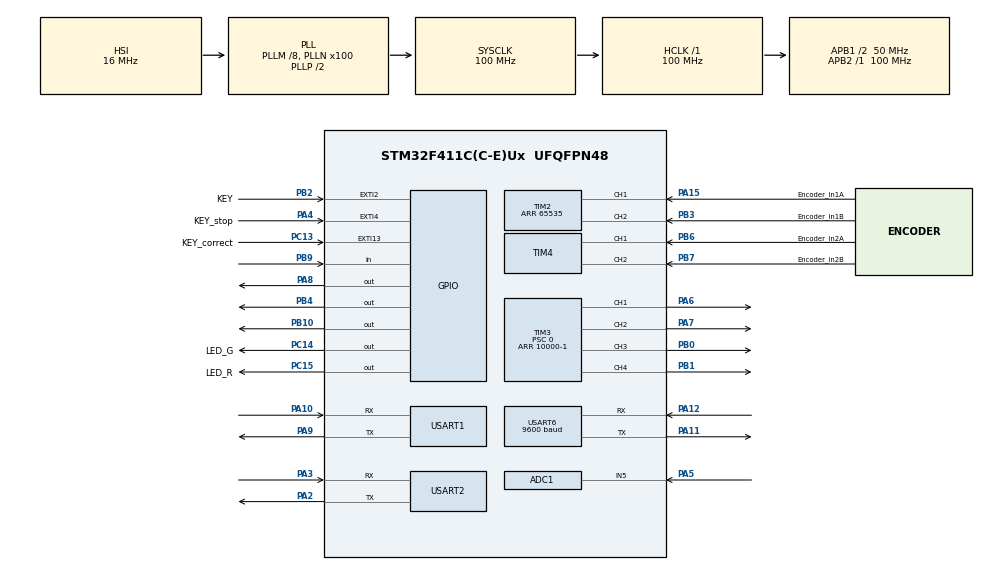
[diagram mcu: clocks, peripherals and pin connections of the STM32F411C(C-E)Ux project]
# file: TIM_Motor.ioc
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ADC1.Channel-0\#ChannelRegularConversion=ADC_CHANNEL_5
ADC1.ClockPrescaler=ADC_CLOCK_SYNC_PCLK_DIV8
ADC1.NbrOfConversionFlag=1
ADC1.Rank-0\#ChannelRegularConversion=1
ADC1.SamplingTime-0\#ChannelRegularConversion=ADC_SAMPLETIME_3CYCLES
ADC1.master=1
Dma.Request0=USART1_RX
Dma.Request1=USART1_TX
Dma.Request2=USART6_RX
Dma.Request3=USART6_TX
Dma.USART1_RX.0.Direction=DMA_PERIPH_TO_MEMORY
Dma.USART1_RX.0.FIFOMode=DMA_FIFOMODE_DISABLE
Dma.USART1_RX.0.Instance=DMA2_Stream2
Dma.USART1_RX.0.MemDataAlignment=DMA_MDATAALIGN_BYTE
Dma.USART1_RX.0.MemInc=DMA_MINC_ENABLE
Dma.USART1_RX.0.Mode=DMA_NORMAL
Dma.USART1_RX.0.PeriphDataAlignment=DMA_PDATAALIGN_BYTE
Dma.USART1_RX.0.PeriphInc=DMA_PINC_DISABLE
Dma.USART1_RX.0.Priority=DMA_PRIORITY_LOW
Dma.USART1_TX.1.Direction=DMA_MEMORY_TO_PERIPH
Dma.USART1_TX.1.FIFOMode=DMA_FIFOMODE_DISABLE
Dma.USART1_TX.1.Instance=DMA2_Stream7
Dma.USART1_TX.1.MemDataAlignment=DMA_MDATAALIGN_BYTE
Dma.USART1_TX.1.MemInc=DMA_MINC_ENABLE
Dma.USART1_TX.1.Mode=DMA_NORMAL
Dma.USART1_TX.1.PeriphDataAlignment=DMA_PDATAALIGN_BYTE
Dma.USART1_TX.1.PeriphInc=DMA_PINC_DISABLE
Dma.USART1_TX.1.Priority=DMA_PRIORITY_LOW
Dma.USART6_RX.2.Direction=DMA_PERIPH_TO_MEMORY
Dma.USART6_RX.2.FIFOMode=DMA_FIFOMODE_DISABLE
Dma.USART6_RX.2.Instance=DMA2_Stream1
Dma.USART6_RX.2.MemDataAlignment=DMA_MDATAALIGN_BYTE
Dma.USART6_RX.2.MemInc=DMA_MINC_ENABLE
Dma.USART6_RX.2.Mode=DMA_NORMAL
Dma.USART6_RX.2.PeriphDataAlignment=DMA_PDATAALIGN_BYTE
Dma.USART6_RX.2.PeriphInc=DMA_PINC_DISABLE
Dma.USART6_RX.2.Priority=DMA_PRIORITY_LOW
Dma.USART6_TX.3.Direction=DMA_MEMORY_TO_PERIPH
Dma.USART6_TX.3.FIFOMode=DMA_FIFOMODE_DISABLE
Dma.USART6_TX.3.Instance=DMA2_Stream6
Dma.USART6_TX.3.MemDataAlignment=DMA_MDATAALIGN_BYTE
Dma.USART6_TX.3.MemInc=DMA_MINC_ENABLE
Dma.USART6_TX.3.Mode=DMA_NORMAL
Dma.USART6_TX.3.PeriphDataAlignment=DMA_PDATAALIGN_BYTE
Dma.USART6_TX.3.PeriphInc=DMA_PINC_DISABLE
Dma.USART6_TX.3.Priority=DMA_PRIORITY_LOW
Mcu.Family=STM32F4
Mcu.Name=STM32F411C(C-E)Ux
Mcu.Package=UFQFPN48
NVIC.DMA2_Stream1_IRQn=true\:0\:0\:false\:false\:true\:false\:true\:true
NVIC.DMA2_Stream2_IRQn=true\:0\:0\:false\:false\:true\:false\:true\:true
NVIC.DMA2_Stream6_IRQn=true\:0\:0\:false\:false\:true\:false\:true\:true
NVIC.DMA2_Stream7_IRQn=true\:0\:0\:false\:false\:true\:false\:true\:true
NVIC.EXTI15_10_IRQn=true\:0\:0\:false\:false\:true\:true\:true\:true
NVIC.EXTI2_IRQn=true\:0\:0\:false\:false\:true\:true\:true\:true
NVIC.EXTI4_IRQn=true\:0\:0\:false\:false\:true\:true\:true\:true
NVIC.PriorityGroup=NVIC_PRIORITYGROUP_4
NVIC.TIM5_IRQn=true\:0\:0\:true\:false\:true\:true\:true\:true
NVIC.USART1_IRQn=true\:0\:0\:true\:false\:true\:true\:true\:true
NVIC.USART6_IRQn=true\:0\:0\:false\:false\:true\:true\:true\:true
PA10.Mode=Asynchronous
PA10.Signal=USART1_RX
PA11.Mode=Asynchronous
PA11.Signal=USART6_TX
PA12.Mode=Asynchronous
PA12.Signal=USART6_RX
PA13.Mode=Serial_Wire
PA13.Signal=SYS_JTMS-SWDIO
PA14.Mode=Serial_Wire
PA14.Signal=SYS_JTCK-SWCLK
PA15.GPIO_Label=Encoder_in1A
PA15.Signal=S_TIM2_CH1_ETR
PA2.Mode=Asynchronous
PA2.Signal=USART2_TX
PA3.Mode=Asynchronous
PA3.Signal=USART2_RX
PA4.GPIO_Label=KEY_stop
PA4.GPIO_ModeDefaultEXTI=GPIO_MODE_IT_FALLING
PA4.GPIO_PuPd=GPIO_PULLUP
PA4.Signal=GPXTI4
PA5.Signal=ADCx_IN5
PA6.Signal=S_TIM3_CH1
PA7.Signal=S_TIM3_CH2
PA8.GPIO_ModeDefaultOutputPP=GPIO_MODE_OUTPUT_OD
PA8.GPIO_PuPd=GPIO_NOPULL
PA8.Signal=GPIO_Output
PA9.Mode=Asynchronous
PA9.Signal=USART1_TX
PB0.Signal=S_TIM3_CH3
PB1.Signal=S_TIM3_CH4
PB10.Signal=GPIO_Output
PB2.GPIO_Label=KEY
PB2.GPIO_ModeDefaultEXTI=GPIO_MODE_IT_FALLING
PB2.GPIO_PuPd=GPIO_PULLUP
PB2.Signal=GPXTI2
PB3.GPIO_Label=Encoder_in1B
PB3.Signal=S_TIM2_CH2
PB4.GPIO_ModeDefaultOutputPP=GPIO_MODE_OUTPUT_OD
PB4.GPIO_PuPd=GPIO_NOPULL
PB4.Signal=GPIO_Output
PB6.GPIO_Label=Encoder_in2A
PB6.Signal=S_TIM4_CH1
PB7.GPIO_Label=Encoder_in2B
PB7.Signal=S_TIM4_CH2
PB9.GPIO_PuPd=GPIO_PULLUP
PB9.Signal=GPIO_Input
PC13-ANTI_TAMP.GPIO_Label=KEY_correct
PC13-ANTI_TAMP.GPIO_ModeDefaultEXTI=GPIO_MODE_IT_FALLING
PC13-ANTI_TAMP.GPIO_PuPd=GPIO_PULLUP
PC13-ANTI_TAMP.Signal=GPXTI13
PC14-OSC32_IN.GPIO_Label=LED_G
PC14-OSC32_IN.PinState=GPIO_PIN_SET
PC14-OSC32_IN.Signal=GPIO_Output
PC15-OSC32_OUT.GPIO_Label=LED_R
PC15-OSC32_OUT.PinState=GPIO_PIN_RESET
PC15-OSC32_OUT.Signal=GPIO_Output
PH0\ -\ OSC_IN.Mode=HSE-External-Oscillator
PH0\ -\ OSC_IN.Signal=RCC_OSC_IN
PH1\ -\ OSC_OUT.Mode=HSE-External-Oscillator
PH1\ -\ OSC_OUT.Signal=RCC_OSC_OUT
ProjectManager.HeapSize=0x200
ProjectManager.StackSize=0x400
ProjectManager.TargetToolchain=MDK-ARM V5.32
RCC.48MHZClocksFreq_Value=50000000
RCC.AHBFreq_Value=100000000
RCC.APB1CLKDivider=RCC_HCLK_DIV2
RCC.APB1Freq_Value=50000000
RCC.APB1TimFreq_Value=100000000
RCC.APB2Freq_Value=100000000
RCC.APB2TimFreq_Value=100000000
RCC.CortexFreq_Value=100000000
RCC.HCLKFreq_Value=100000000
RCC.HSE_VALUE=25000000
RCC.HSI_VALUE=16000000
RCC.LSE_VALUE=32768
RCC.PLLM=8
RCC.PLLN=100
RCC.SYSCLKFreq_VALUE=100000000
RCC.SYSCLKSource=RCC_SYSCLKSOURCE_PLLCLK
RCC.VCOOutputFreq_Value=200000000
SH.ADCx_IN5.0=ADC1_IN5,IN5
SH.S_TIM2_CH1_ETR.0=TIM2_CH1,Encoder_Interface
SH.S_TIM2_CH2.0=TIM2_CH2,Encoder_Interface
SH.S_TIM3_CH1.0=TIM3_CH1,PWM Generation1 CH1
SH.S_TIM3_CH2.0=TIM3_CH2,PWM Generation2 CH2
SH.S_TIM3_CH3.0=TIM3_CH3,PWM Generation3 CH3
SH.S_TIM3_CH4.0=TIM3_CH4,PWM Generation4 CH4
SH.S_TIM4_CH1.0=TIM4_CH1,Encoder_Interface
SH.S_TIM4_CH2.0=TIM4_CH2,Encoder_Interface
TIM2.AutoReloadPreload=TIM_AUTORELOAD_PRELOAD_ENABLE
TIM2.EncoderMode=TIM_ENCODERMODE_TI12
TIM2.IC1Filter=10
TIM2.IC2Filter=10
TIM2.Period=65535
TIM3.AutoReloadPreload=TIM_AUTORELOAD_PRELOAD_ENABLE
TIM3.Channel-PWM\ Generation1\ CH1=TIM_CHANNEL_1
TIM3.Channel-PWM\ Generation2\ CH2=TIM_CHANNEL_2
TIM3.Channel-PWM\ Generation3\ CH3=TIM_CHANNEL_3
TIM3.Channel-PWM\ Generation4\ CH4=TIM_CHANNEL_4
TIM3.Period=10000-1
TIM3.Prescaler=0
TIM4.AutoReloadPreload=TIM_AUTORELOAD_PRELOAD_ENABLE
TIM4.EncoderMode=TIM_ENCODERMODE_TI12
TIM4.IC1Filter=10
TIM4.IC2Filter=10
TIM5.Period=100-1
TIM5.Prescaler=1000-1
USART1.VirtualMode=VM_ASYNC
USART2.VirtualMode=VM_ASYNC
USART6.BaudRate=9600
USART6.VirtualMode=VM_ASYNC
VP_TIM5_VS_ClockSourceINT.Mode=Internal
board=custom

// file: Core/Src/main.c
/* USER CODE BEGIN Header */
/**
  ******************************************************************************
  * @file           : main.c
  * @brief          : Main program body
  ******************************************************************************
  * @attention
  *
  * Copyright (c) 2025 STMicroelectronics.
  * All rights reserved.
  *
  * This software is licensed under terms that can be found in the LICENSE file
  * in the root directory of this software component.
  * If no LICENSE file comes with this software, it is provided AS-IS.
  *
  ******************************************************************************
  */
/* USER CODE END Header */
#include "main.h"
#include "adc.h"
#include "dma.h"
#include "tim.h"
#include "usart.h"
#include "gpio.h"

/* USER CODE BEGIN Includes */
#include "motor.h"
#include "encoder.h"
#include "string.h"
#include "stdio.h"
#include "jy61p.h"
#include "control.h"
#include "show.h"
#include "gw_grayscale_sensor.h"
#include "OLED.h"
/* USER CODE END Includes */

/* USER CODE BEGIN PV */
extern float Encoder_left, Encoder_right;
extern float Velocity_Left,Velocity_Right;
extern int stop_flag, correct_flag;
extern uint8_t g_usart1_receivedata;
extern float Yaw;
extern int Velocity_Pwm_left, Velocity_Pwm_right, Turn_Pwm;
extern float Turn_Target;
extern int Motor_left, Motor_right;
uint8_t sensor_data;
uint8_t sensor[8];
extern uint8_t gData[6];
//float Velocity_Kp = 400, Velocity_Ki = 2, Turn_Kp = 4200, Turn_Kd = 100;
/* USER CODE END PV */

void SystemClock_Config(void);

int main(void)
{

  /* MCU Configuration--------------------------------------------------------*/

  /* Reset of all peripherals, Initializes the Flash interface and the Systick. */
  HAL_Init();

  /* Configure the system clock */
  SystemClock_Config();

  /* Initialize all configured peripherals */
  MX_GPIO_Init();
  MX_DMA_Init();
  MX_TIM2_Init();
  MX_TIM3_Init();
  MX_TIM4_Init();
  MX_USART1_UART_Init();
  MX_USART2_UART_Init();
  MX_USART6_UART_Init();
  MX_TIM5_Init();
  MX_ADC1_Init();
  /* USER CODE BEGIN 2 */
	HAL_TIM_Base_Start_IT(&htim5);
  HAL_TIM_Encoder_Start(&htim2, TIM_CHANNEL_ALL);
	HAL_TIM_Encoder_Start(&htim4, TIM_CHANNEL_ALL);
	HAL_TIM_PWM_Start(&htim3, TIM_CHANNEL_1);
  HAL_TIM_PWM_Start(&htim3, TIM_CHANNEL_2);
	HAL_TIM_PWM_Start(&htim3, TIM_CHANNEL_3);
  HAL_TIM_PWM_Start(&htim3, TIM_CHANNEL_4);
	HAL_UART_Receive_IT(&huart1,&g_usart1_receivedata,1);
	HAL_UART_Receive_IT(&huart6,gData,sizeof(gData));
	OLED_Init();
  /* USER CODE END 2 */

  /* Infinite loop */
  /* USER CODE BEGIN WHILE */
  while (1)
  {
		OLED_ShowString(0, 0,"Turn = ",OLED_8X16);
	  OLED_ShowFloatNum(56,0,Turn_Target,3,3,OLED_8X16);
		OLED_ShowString(0,16,"Yaw  = ",OLED_8X16);
		OLED_ShowFloatNum(56,16,Yaw,3,3,OLED_8X16);
		OLED_ShowString(0,32,"left = ",OLED_8X16);
		OLED_ShowFloatNum(56,32,Velocity_Left,3,3,OLED_8X16);
		OLED_ShowString(0,48,"right= ",OLED_8X16);
		OLED_ShowFloatNum(56,48,Velocity_Right,3,3,OLED_8X16);
		OLED_Update();

    /* USER CODE END WHILE */

    /* USER CODE BEGIN 3 */
		if(correct_flag == 1)
		{
			jy61p_correct(correct_flag);
			correct_flag = 0;
		}

		sensor_data = gw_gray_serial_read();
		SEP_ALL_BIT8(sensor_data,
			sensor[0], sensor[1], sensor[2], sensor[3], sensor[4], sensor[5], sensor[6], sensor[7]);
		delay(100*GW_GRAY_SERIAL_DELAY_VALUE);
//		DataScope();
//		HAL_Delay(50);
  }
  /* USER CODE END 3 */
}

void SystemClock_Config(void)
{
  RCC_OscInitTypeDef RCC_OscInitStruct = {0};
  RCC_ClkInitTypeDef RCC_ClkInitStruct = {0};

  /** Configure the main internal regulator output voltage
  */
  __HAL_RCC_PWR_CLK_ENABLE();
  __HAL_PWR_VOLTAGESCALING_CONFIG(PWR_REGULATOR_VOLTAGE_SCALE1);

  /** Initializes the RCC Oscillators according to the specified parameters
  * in the RCC_OscInitTypeDef structure.
  */
  RCC_OscInitStruct.OscillatorType = RCC_OSCILLATORTYPE_HSI;
  RCC_OscInitStruct.HSIState = RCC_HSI_ON;
  RCC_OscInitStruct.HSICalibrationValue = RCC_HSICALIBRATION_DEFAULT;
  RCC_OscInitStruct.PLL.PLLState = RCC_PLL_ON;
  RCC_OscInitStruct.PLL.PLLSource = RCC_PLLSOURCE_HSI;
  RCC_OscInitStruct.PLL.PLLM = 8;
  RCC_OscInitStruct.PLL.PLLN = 100;
  RCC_OscInitStruct.PLL.PLLP = RCC_PLLP_DIV2;
  RCC_OscInitStruct.PLL.PLLQ = 4;
  if (HAL_RCC_OscConfig(&RCC_OscInitStruct) != HAL_OK)
  {
    Error_Handler();
  }

  /** Initializes the CPU, AHB and APB buses clocks
  */
  RCC_ClkInitStruct.ClockType = RCC_CLOCKTYPE_HCLK|RCC_CLOCKTYPE_SYSCLK
                              |RCC_CLOCKTYPE_PCLK1|RCC_CLOCKTYPE_PCLK2;
  RCC_ClkInitStruct.SYSCLKSource = RCC_SYSCLKSOURCE_PLLCLK;
  RCC_ClkInitStruct.AHBCLKDivider = RCC_SYSCLK_DIV1;
  RCC_ClkInitStruct.APB1CLKDivider = RCC_HCLK_DIV2;
  RCC_ClkInitStruct.APB2CLKDivider = RCC_HCLK_DIV1;

  if (HAL_RCC_ClockConfig(&RCC_ClkInitStruct, FLASH_LATENCY_3) != HAL_OK)
  {
    Error_Handler();
  }
}

void Error_Handler(void)
{
  __disable_irq();
  while (1)
  {
  }
}
